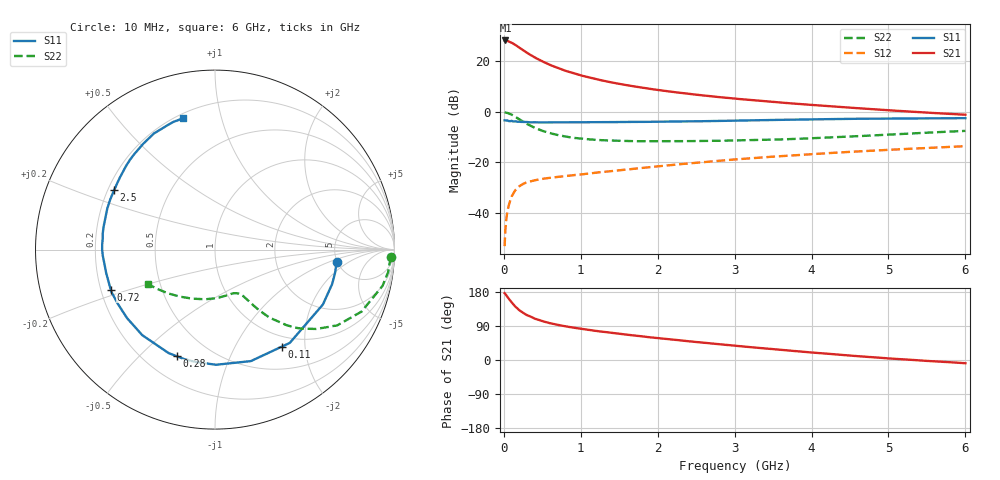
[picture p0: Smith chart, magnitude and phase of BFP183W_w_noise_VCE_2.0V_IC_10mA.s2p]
! Infineon Technologies  Discrete & RF Semiconductors
! BFP183W
! VCE = 2.0 V,  IC =  10 mA
! Common Emitter S-Parameters:  Jan 2016
# GHz  S  MA  R  50
!  f  S11  S21  S12  S22
! GHz  MAG  ANG  MAG  ANG  MAG  ANG  MAG  ANG
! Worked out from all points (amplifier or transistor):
!   210 points, 10 MHz to 6 GHz, reference 50 ohm
!   highest |S21| = 28.3 dB at 20 MHz (marker M1)
!   |S21| within 3 dB of that: start of sweep to 208.5 MHz
!   unconditionally stable (mu >= 1): 1.295 GHz to 5.373 GHz
!   at 185 MHz: K = 0.23, MSG = 27.8 dB, |S12| = -29.9 dB
!   at 1.52 GHz: K = 1.07, MAG = 15.4 dB, |S12| = -23.0 dB
!   at 6 GHz: K = 0.96, MSG = 6.2 dB, |S12| = -13.6 dB
!   lowest NFmin = 1.30 dB at 450 MHz
!   S11 on the Smith chart (normalised r, x): 10 MHz: 4.97, -1.24; 110 MHz: 0.83, -1.58; 280 MHz: 0.33, -0.65; 720 MHz: 0.24, -0.17; 2.5 GHz: 0.23, +0.26; 6 GHz: 0.22, +0.76
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0.01  0.6821 -5.6  25.94 176.3  0.0022 85.8  0.9811 -2.4
0.02  0.6813 -10.9  26 174.1  0.0047 83.5  0.9749 -4.9
0.03  0.6804 -16.4  25.94 171.2  0.0071 83.9  0.9729 -7.4
0.05  0.6745 -27.0  25.43 165.3  0.0114 78.4  0.9553 -12.2
0.1  0.6662 -51.3  23.56 152.2  0.021 66.5  0.8869 -22.9
0.11  0.6565 -55.4  23.03 150.1  0.0224 64.5  0.8682 -24.5
0.15  0.6525 -72.2  21.23 140.7  0.0283 58.6  0.8013 -31.8
0.2  0.6417 -89.5  18.78 131.5  0.0336 52.3  0.7163 -38.1
0.28  0.6311 -109.7  15.53 121.0  0.0394 45.5  0.6045 -45.2
0.3  0.6319 -114.1  14.79 118.4  0.0406 44.2  0.5791 -46.6
0.4  0.6257 -130.4  11.99 109.2  0.0443 39.9  0.4857 -51.3
0.5  0.6211 -142.1  9.983 102.4  0.0473 38.4  0.4225 -53.8
0.6  0.62 -150.7  8.501 97.1  0.0497 37.9  0.3791 -55.4
0.72  0.6223 -159.0  7.251 92.0  0.0522 38.0  0.3438 -56.7
1.02  0.6215 -173.1  5.198 81.9  0.0583 39.8  0.2947 -59.5
1.4  0.628 174.7  3.839 71.5  0.0674 42.5  0.2712 -63.7
2.02  0.6422 159.2  2.7 57.5  0.0842 45.8  0.2622 -72.9
2.5  0.6524 149.5  2.197 47.5  0.0986 46.3  0.2654 -81.6
3.1  0.6759 138.3  1.781 36.0  0.1176 45.3  0.274 -94.1
4.1  0.7154 122.9  1.343 18.3  0.1492 41.8  0.3052 -117.3
5.1  0.7409 111.5  1.056 3.0  0.1807 36.8  0.3623 -138.6
6  0.7528 103.8  0.88 -8.5  0.2097 32.0  0.4215 -153.0
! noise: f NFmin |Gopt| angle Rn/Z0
0.45  1.3  0.15  45  0.18
0.9  1.4  0.2  125  0.19
1.8  2.1  0.34  -170  0.14
